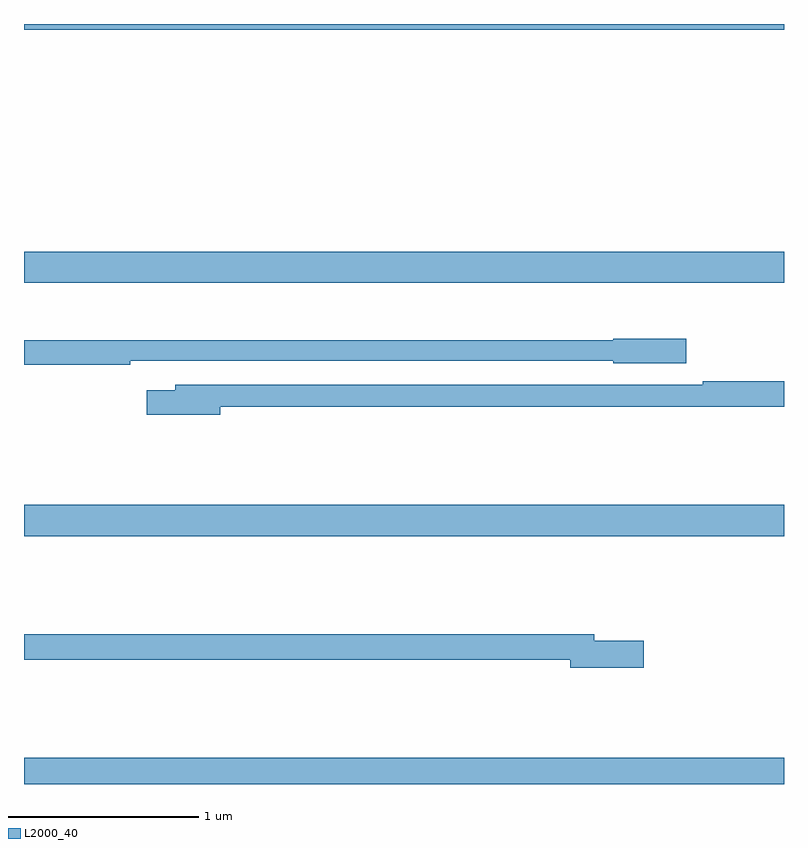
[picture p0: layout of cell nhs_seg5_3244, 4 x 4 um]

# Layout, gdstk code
import gdstk
lib = gdstk.Library(unit=1e-6, precision=1e-09)
def R(c, l, rs):  # rectangles x0, y0, x1, y1
    for r in rs: c.add(gdstk.rectangle(r[:2], r[2:], *l))
def P(c, l, *ps):  # polygons
    for p in ps: c.add(gdstk.Polygon(p, *l))
L2000_40 = (2000, 40)

nhs_seg5_3244 = lib.new_cell('nhs_seg5_3244')
R(nhs_seg5_3244, L2000_40, [(299,844.799,303,844.936), (299,846.104,303,846.268), (299,847.436,303,847.6), (299,848.768,303,848.799)])
P(nhs_seg5_3244, L2000_40, [(299.558,847.026),(302.1,847.026),(302.1,847.013),(302.485,847.013),(302.485,847.143),(302.1,847.143),(302.1,847.135),(299,847.135),(299,847.006),(299.558,847.006)],
  [(300.034,846.784),(303,846.784),(303,846.92),(302.572,846.92),(302.572,846.9),(299.795,846.9),(299.795,846.871),(299.646,846.871),(299.646,846.742),(300.034,846.742)],
  [(302.263,845.552),(302.002,845.552),(302.002,845.588),(299,845.588),(299,845.452),(301.874,845.452),(301.874,845.41),(302.263,845.41)])

lib.write_gds('nhs_seg5_3244.gds')
